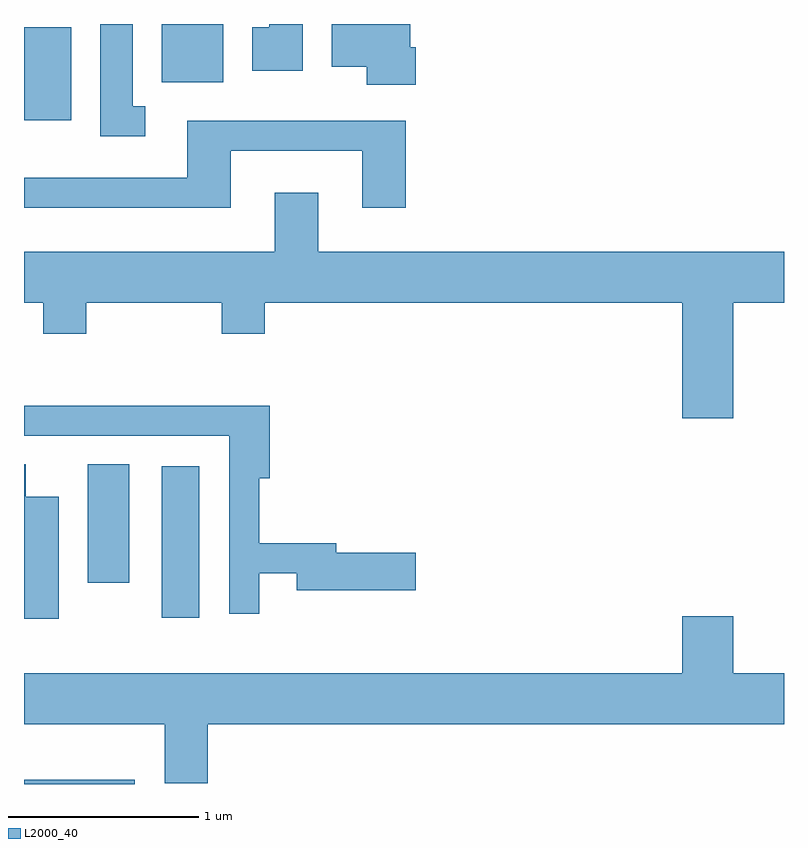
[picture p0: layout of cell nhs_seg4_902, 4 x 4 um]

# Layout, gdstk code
import gdstk
lib = gdstk.Library(unit=1e-6, precision=1e-09)
def R(c, l, rs):  # rectangles x0, y0, x1, y1
    for r in rs: c.add(gdstk.rectangle(r[:2], r[2:], *l))
def P(c, l, *ps):  # polygons
    for p in ps: c.add(gdstk.Polygon(p, *l))
L2000_40 = (2000, 40)

nhs_seg4_902 = lib.new_cell('nhs_seg4_902')
R(nhs_seg4_902, L2000_40, [(211.611,1289.982,212.194,1290.004), (212.336,1290.856,212.534,1291.654), (211.946,1291.041,212.164,1291.664), (211.611,1293.476,211.859,1293.964), (212.336,1293.676,212.659,1293.982)])
P(nhs_seg4_902, L2000_40, [(213.674,1293.859),(213.644,1293.859),(213.644,1293.982),(213.231,1293.982),(213.231,1293.756),(213.416,1293.756),(213.416,1293.661),(213.674,1293.661)],
  [(213.079,1293.982),(212.901,1293.982),(212.901,1293.964),(212.811,1293.964),(212.811,1293.736),(213.079,1293.736)],
  [(212.248,1293.549),(212.184,1293.549),(212.184,1293.982),(212.011,1293.982),(212.011,1293.391),(212.248,1293.391)],
  [(212.699,1293.316),(213.391,1293.316),(213.391,1293.016),(213.619,1293.016),(213.619,1293.474),(212.471,1293.474),(212.471,1293.174),(211.611,1293.174),(211.611,1293.016),(212.699,1293.016)],
  [(215.344,1292.516),(215.611,1292.516),(215.611,1292.784),(213.159,1292.784),(213.159,1293.094),(212.931,1293.094),(212.931,1292.784),(211.611,1292.784),(211.611,1292.516),(211.711,1292.516),(211.711,1292.351),(211.939,1292.351),(211.939,1292.516),(212.651,1292.516),(212.651,1292.351),(212.879,1292.351),(212.879,1292.516),(215.076,1292.516),(215.076,1291.906),(215.344,1291.906)],
  [(212.849,1291.091),(213.046,1291.091),(213.046,1291.001),(213.674,1291.001),(213.674,1291.199),(213.254,1291.199),(213.254,1291.249),(212.849,1291.249),(212.849,1291.591),(212.904,1291.591),(212.904,1291.974),(211.611,1291.974),(211.611,1291.816),(212.691,1291.816),(212.691,1290.878),(212.849,1290.878)],
  [(211.794,1291.494),(211.619,1291.494),(211.619,1291.664),(211.611,1291.664),(211.611,1290.851),(211.794,1290.851)],
  [(212.579,1290.296),(215.611,1290.296),(215.611,1290.564),(215.344,1290.564),(215.344,1290.864),(215.076,1290.864),(215.076,1290.564),(211.611,1290.564),(211.611,1290.296),(212.351,1290.296),(212.351,1289.986),(212.579,1289.986)])

lib.write_gds('nhs_seg4_902.gds')
